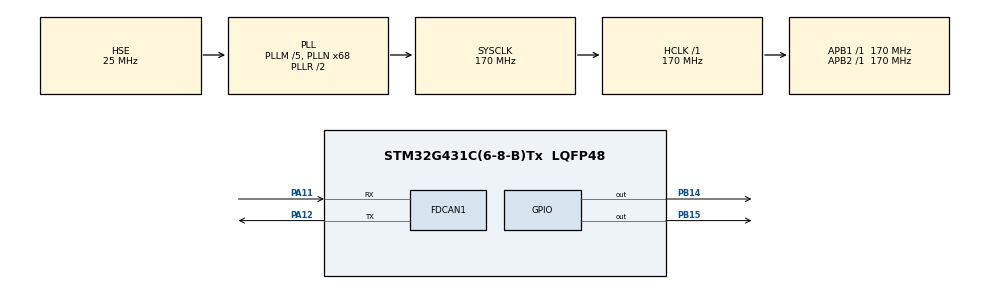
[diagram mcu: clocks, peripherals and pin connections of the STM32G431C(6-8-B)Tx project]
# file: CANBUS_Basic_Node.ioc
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FDCAN1.CalculateBaudRateNominal=3541666
FDCAN1.CalculateTimeBitNominal=282
FDCAN1.CalculateTimeQuantumNominal=94.11764705882354
Mcu.Family=STM32G4
Mcu.Name=STM32G431C(6-8-B)Tx
Mcu.Package=LQFP48
NVIC.PriorityGroup=NVIC_PRIORITYGROUP_4
PA11.Mode=FDCAN_Activate
PA11.Signal=FDCAN1_RX
PA12.Mode=FDCAN_Activate
PA12.Signal=FDCAN1_TX
PA13.Mode=Serial_Wire
PA13.Signal=SYS_JTMS-SWDIO
PA14.Mode=Serial_Wire
PA14.Signal=SYS_JTCK-SWCLK
PB14.Signal=GPIO_Output
PB15.Signal=GPIO_Output
PF0-OSC_IN.Mode=HSE-External-Oscillator
PF0-OSC_IN.Signal=RCC_OSC_IN
PF1-OSC_OUT.Mode=HSE-External-Oscillator
PF1-OSC_OUT.Signal=RCC_OSC_OUT
ProjectManager.HeapSize=0x200
ProjectManager.StackSize=0x400
ProjectManager.TargetToolchain=CMake
RCC.ADC12Freq_Value=170000000
RCC.AHBFreq_Value=170000000
RCC.APB1Freq_Value=170000000
RCC.APB1TimFreq_Value=170000000
RCC.APB2Freq_Value=170000000
RCC.APB2TimFreq_Value=170000000
RCC.CortexFreq_Value=170000000
RCC.EXTERNAL_CLOCK_VALUE=12288000
RCC.HCLKFreq_Value=170000000
RCC.HSE_VALUE=25000000
RCC.HSI48_VALUE=48000000
RCC.HSI_VALUE=16000000
RCC.LSE_VALUE=32768
RCC.PLLM=RCC_PLLM_DIV5
RCC.PLLN=68
RCC.PLLSourceVirtual=RCC_PLLSOURCE_HSE
RCC.SYSCLKFreq_VALUE=170000000
RCC.SYSCLKSource=RCC_SYSCLKSOURCE_PLLCLK
RCC.USBFreq_Value=170000000
RCC.VCOOutputFreq_Value=340000000
VP_SYS_VS_DBSignals.Mode=DisableDeadBatterySignals
board=custom

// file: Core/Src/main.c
/* USER CODE BEGIN Header */
/**
  ******************************************************************************
  * @file           : main.c
  * @brief          : Main program body
  ******************************************************************************
  * @attention
  *
  * Copyright (c) 2026 STMicroelectronics.
  * All rights reserved.
  *
  * This software is licensed under terms that can be found in the LICENSE file
  * in the root directory of this software component.
  * If no LICENSE file comes with this software, it is provided AS-IS.
  *
  ******************************************************************************
  */
/* USER CODE END Header */
#include "main.h"
#include "stm32_hal_legacy.h"

/* USER CODE BEGIN Includes */
#include "can_node.h"

/* USER CODE END Includes */

FDCAN_HandleTypeDef hfdcan1;

void SystemClock_Config(void);
static void MX_GPIO_Init(void);
static void MX_FDCAN1_Init(void);

int main(void)
{

  /* MCU Configuration--------------------------------------------------------*/

  /* Reset of all peripherals, Initializes the Flash interface and the Systick. */
  HAL_Init();

  /* Configure the system clock */
  SystemClock_Config();

  /* Initialize all configured peripherals */
  MX_GPIO_Init();
  MX_FDCAN1_Init();

  /* Infinite loop */
  /* USER CODE BEGIN WHILE */

    /* * Initializing the CAN backend driver; in this example we're using SocketCAN
     */
    SocketCANInstance socketcan;
    const char* const can_iface_name = argv[1];
    int16_t res = socketcanInit(&socketcan, can_iface_name);
    if (res < 0) {
        (void)fprintf(stderr, "Failed to open CAN iface '%s'\n", can_iface_name);
        return 1;
    }

    /*
     Initializing the Libcanard instance.
     */
    canardInit(&canard,
               memory_pool,
               sizeof(memory_pool),
               onTransferReceived,
               shouldAcceptTransfer,
               NULL);

    canardSetLocalNodeID(&canard, MY_NODE_ID);

    /*
      Run the main loop.
     */
    uint64_t next_1hz_service_at = micros64();
  while (1)
  {
    processTxRxOnce(&socketcan, 10);

    const uint64_t ts = micros64();

    if (ts >= next_1hz_service_at) {
        next_1hz_service_at += 1000000ULL;
        process1HzTasks(ts);
    }

    /* USER CODE END WHILE */

    /* USER CODE BEGIN 3 */
  }
    return 0;
  /* USER CODE END 3 */
}

void SystemClock_Config(void)
{
  RCC_OscInitTypeDef RCC_OscInitStruct = {0};
  RCC_ClkInitTypeDef RCC_ClkInitStruct = {0};

  /** Configure the main internal regulator output voltage
  */
  HAL_PWREx_ControlVoltageScaling(PWR_REGULATOR_VOLTAGE_SCALE1_BOOST);

  /** Initializes the RCC Oscillators according to the specified parameters
  * in the RCC_OscInitTypeDef structure.
  */
  RCC_OscInitStruct.OscillatorType = RCC_OSCILLATORTYPE_HSE;
  RCC_OscInitStruct.HSEState = RCC_HSE_ON;
  RCC_OscInitStruct.PLL.PLLState = RCC_PLL_ON;
  RCC_OscInitStruct.PLL.PLLSource = RCC_PLLSOURCE_HSE;
  RCC_OscInitStruct.PLL.PLLM = RCC_PLLM_DIV5;
  RCC_OscInitStruct.PLL.PLLN = 68;
  RCC_OscInitStruct.PLL.PLLP = RCC_PLLP_DIV2;
  RCC_OscInitStruct.PLL.PLLQ = RCC_PLLQ_DIV2;
  RCC_OscInitStruct.PLL.PLLR = RCC_PLLR_DIV2;
  if (HAL_RCC_OscConfig(&RCC_OscInitStruct) != HAL_OK)
  {
    Error_Handler();
  }

  /** Initializes the CPU, AHB and APB buses clocks
  */
  RCC_ClkInitStruct.ClockType = RCC_CLOCKTYPE_HCLK|RCC_CLOCKTYPE_SYSCLK
                              |RCC_CLOCKTYPE_PCLK1|RCC_CLOCKTYPE_PCLK2;
  RCC_ClkInitStruct.SYSCLKSource = RCC_SYSCLKSOURCE_PLLCLK;
  RCC_ClkInitStruct.AHBCLKDivider = RCC_SYSCLK_DIV1;
  RCC_ClkInitStruct.APB1CLKDivider = RCC_HCLK_DIV1;
  RCC_ClkInitStruct.APB2CLKDivider = RCC_HCLK_DIV1;

  if (HAL_RCC_ClockConfig(&RCC_ClkInitStruct, FLASH_LATENCY_4) != HAL_OK)
  {
    Error_Handler();
  }
}

static void MX_FDCAN1_Init(void)
{

  hfdcan1.Instance = FDCAN1;
  hfdcan1.Init.ClockDivider = FDCAN_CLOCK_DIV1;
  hfdcan1.Init.FrameFormat = FDCAN_FRAME_CLASSIC;
  hfdcan1.Init.Mode = FDCAN_MODE_NORMAL;
  hfdcan1.Init.AutoRetransmission = DISABLE;
  hfdcan1.Init.TransmitPause = DISABLE;
  hfdcan1.Init.ProtocolException = DISABLE;
  hfdcan1.Init.NominalPrescaler = 16;
  hfdcan1.Init.NominalSyncJumpWidth = 1;
  hfdcan1.Init.NominalTimeSeg1 = 1;
  hfdcan1.Init.NominalTimeSeg2 = 1;
  hfdcan1.Init.DataPrescaler = 1;
  hfdcan1.Init.DataSyncJumpWidth = 1;
  hfdcan1.Init.DataTimeSeg1 = 1;
  hfdcan1.Init.DataTimeSeg2 = 1;
  hfdcan1.Init.StdFiltersNbr = 0;
  hfdcan1.Init.ExtFiltersNbr = 0;
  hfdcan1.Init.TxFifoQueueMode = FDCAN_TX_FIFO_OPERATION;
  if (HAL_FDCAN_Init(&hfdcan1) != HAL_OK)
  {
    Error_Handler();
  }

}

static void MX_GPIO_Init(void)
{
  GPIO_InitTypeDef GPIO_InitStruct = {0};

  /* GPIO Ports Clock Enable */
  __HAL_RCC_GPIOF_CLK_ENABLE();
  __HAL_RCC_GPIOB_CLK_ENABLE();
  __HAL_RCC_GPIOA_CLK_ENABLE();

  /*Configure GPIO pin Output Level */
  HAL_GPIO_WritePin(GPIOB, GPIO_PIN_14|GPIO_PIN_15, GPIO_PIN_RESET);

  /*Configure GPIO pins : PB14 PB15 */
  GPIO_InitStruct.Pin = GPIO_PIN_14|GPIO_PIN_15;
  GPIO_InitStruct.Mode = GPIO_MODE_OUTPUT_PP;
  GPIO_InitStruct.Pull = GPIO_NOPULL;
  GPIO_InitStruct.Speed = GPIO_SPEED_FREQ_LOW;
  HAL_GPIO_Init(GPIOB, &GPIO_InitStruct);

}

void Error_Handler(void)
{
  __disable_irq();
  while (1)
  {
  }
}
